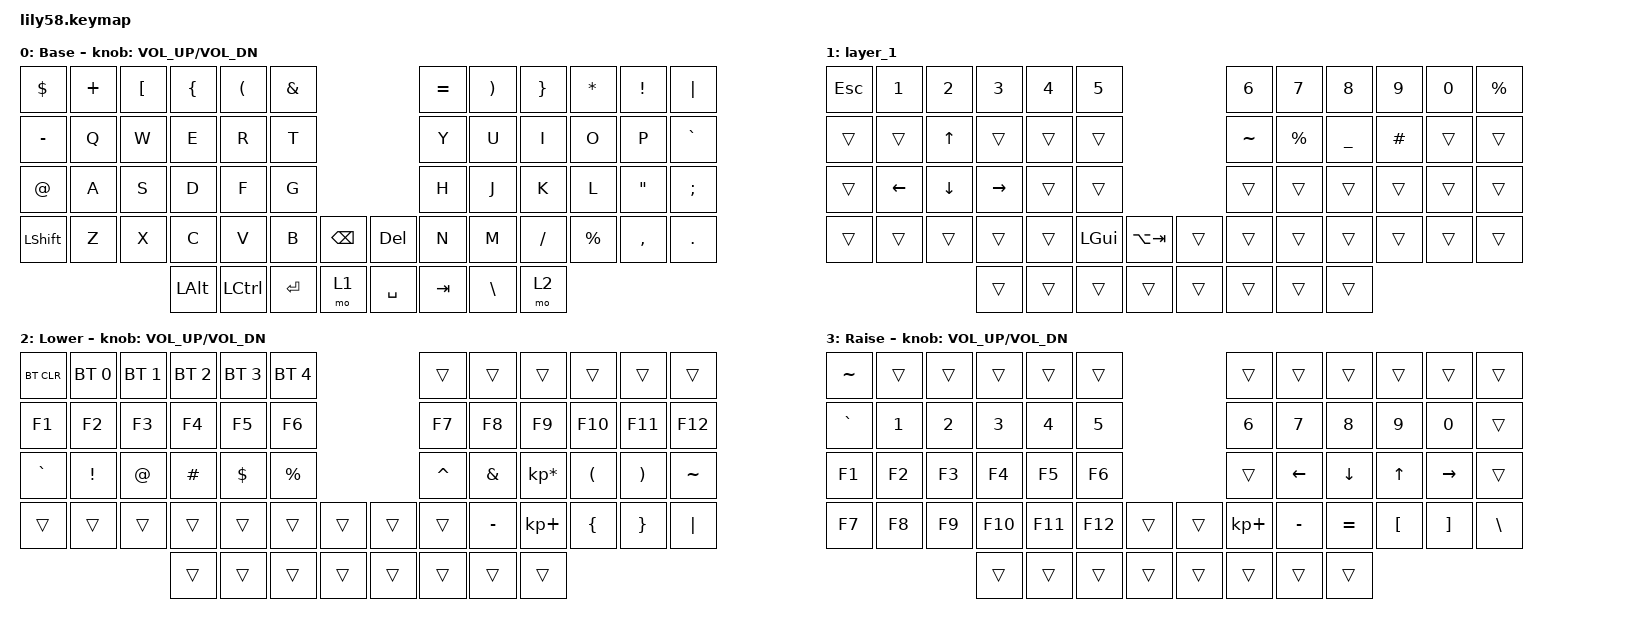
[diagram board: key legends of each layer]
/*
 * Copyright (c) 2020 The ZMK Contributors
 *
 * SPDX-License-Identifier: MIT
 */

#include <behaviors.dtsi>
#include <dt-bindings/zmk/bt.h>
#include <dt-bindings/zmk/keys.h>

/ {
    keymap {
        compatible = "zmk,keymap";

        default_layer {
            // ------------------------------------------------------------------------------------------------------------
            // |  ESC  |  1  |  2  |  3   |  4   |  5   |                   |  6   |  7    |  8    |  9   |   0   |   `   |
            // |  TAB  |  Q  |  W  |  E   |  R   |  T   |                   |  Y   |  U    |  I    |  O   |   P   |   -   |
            // |  CTRL |  A  |  S  |  D   |  F   |  G   |                   |  H   |  J    |  K    |  L   |   ;   |   '   |
            // | SHIFT |  Z  |  X  |  C   |  V   |  B   |   "["  |  |  "]"  |  N   |  M    |  ,    |  .   |   /   | SHIFT |
            //                     | ALT  | GUI  | LOWER|  SPACE |  | ENTER | RAISE| BSPC  | GUI   |

            display-name = "Base";
            bindings = <
&kp DOLLAR      &kp PLUS  &kp LEFT_BRACKET  &kp LEFT_BRACE  &kp LEFT_PARENTHESIS  &kp AMPERSAND                              &kp EQUAL  &kp RIGHT_PARENTHESIS  &kp RIGHT_BRACE  &kp ASTERISK  &kp EXCLAMATION    &kp PIPE
&kp MINUS       &kp Q     &kp W             &kp E           &kp R                 &kp T                                      &kp Y      &kp U                  &kp I            &kp O         &kp P              &kp GRAVE
&kp AT_SIGN     &kp A     &kp S             &kp D           &kp F                 &kp G                                      &kp H      &kp J                  &kp K            &kp L         &kp DOUBLE_QUOTES  &kp SEMICOLON
&kp LEFT_SHIFT  &kp Z     &kp X             &kp C           &kp V                 &kp B          &kp BACKSPACE    &kp DEL    &kp N      &kp M                  &kp SLASH        &kp PERCENT   &kp COMMA          &kp PERIOD
                                            &kp LALT        &kp LEFT_CONTROL      &kp ENTER      &mo 1            &kp SPACE  &kp TAB    &kp BACKSLASH          &mo 2
            >;

            sensor-bindings = <&inc_dec_kp C_VOL_UP C_VOL_DN>;
        };

        layer_1 {
            bindings = <
&kp ESCAPE  &kp NUMBER_1    &kp NUMBER_2    &kp NUMBER_3     &kp NUMBER_4  &kp N5                               &kp NUMBER_6  &kp N7       &kp N8          &kp N9    &kp N0  &kp PERCENT
&trans      &trans          &kp UP_ARROW    &trans           &trans        &trans                               &kp TILDE     &kp PERCENT  &kp UNDERSCORE  &kp HASH  &trans  &trans
&trans      &kp LEFT_ARROW  &kp DOWN_ARROW  &kp RIGHT_ARROW  &trans        &trans                               &trans        &trans       &trans          &trans    &trans  &trans
&trans      &trans          &trans          &trans           &trans        &kp LEFT_GUI  &kp LA(TAB)    &trans  &trans        &trans       &trans          &trans    &trans  &trans
                                            &trans           &trans        &trans        &trans         &trans  &trans        &trans       &trans
            >;
        };

        lower_layer {
            // ------------------------------------------------------------------------------------------------------------
            // | BTCLR | BT1 | BT2 |  BT3 |  BT4 |  BT5 |                   |      |       |       |      |       |       |
            // |  F1   |  F2 |  F3 |  F4  |  F5  |  F6  |                   |  F7  |  F8   |  F9   |  F10 |  F11  |  F12  |
            // |   `   |  !  |  @  |  #   |  $   |  %   |                   |  ^   |  &    |  *    |  (   |   )   |   ~   |
            // |       |     |     |      |      |      |        |  |       |      |  _    |  +    |  {   |   }   |  "|"  |
            //                     |      |      |      |        |  |       |      |       |       |

            display-name = "Lower";
            bindings = <
&bt BT_CLR  &bt BT_SEL 0  &bt BT_SEL 1  &bt BT_SEL 2  &bt BT_SEL 3  &bt BT_SEL 4                    &trans     &trans     &trans           &trans    &trans    &trans
&kp F1      &kp F2        &kp F3        &kp F4        &kp F5        &kp F6                          &kp F7     &kp F8     &kp F9           &kp F10   &kp F11   &kp F12
&kp GRAVE   &kp EXCL      &kp AT        &kp HASH      &kp DOLLAR    &kp PRCNT                       &kp CARET  &kp AMPS   &kp KP_MULTIPLY  &kp LPAR  &kp RPAR  &kp TILDE
&trans      &trans        &trans        &trans        &trans        &trans        &trans    &trans  &trans     &kp MINUS  &kp KP_PLUS      &kp LBRC  &kp RBRC  &kp PIPE
                                        &trans        &trans        &trans        &trans    &trans  &trans     &trans     &trans
            >;

            sensor-bindings = <&inc_dec_kp C_VOL_UP C_VOL_DN>;
        };

        raise_layer {
            // ------------------------------------------------------------------------------------------------------------
            // |       |     |     |      |      |      |                   |      |       |       |      |       |       |
            // |   `   |  1  |  2  |  3   |  4   |  5   |                   |  6   |   7   |   8   |  9   |   0   |       |
            // |   F1  |  F2 |  F3 |  F4  |  F5  |  F6  |                   |      |   <-  |   v   |  ^   |  ->   |       |
            // |   F7  |  F8 |  F9 |  F10 |  F11 |  F12 |        |  |       |  +   |   -   |   =   |  [   |   ]   |   \   |
            //                     |      |      |      |        |  |       |      |       |       |

            display-name = "Raise";
            bindings = <
&kp TILDE  &trans  &trans  &trans   &trans   &trans                     &trans       &trans     &trans     &trans    &trans     &trans
&kp GRAVE  &kp N1  &kp N2  &kp N3   &kp N4   &kp N5                     &kp N6       &kp N7     &kp N8     &kp N9    &kp N0     &trans
&kp F1     &kp F2  &kp F3  &kp F4   &kp F5   &kp F6                     &trans       &kp LEFT   &kp DOWN   &kp UP    &kp RIGHT  &trans
&kp F7     &kp F8  &kp F9  &kp F10  &kp F11  &kp F12  &trans    &trans  &kp KP_PLUS  &kp MINUS  &kp EQUAL  &kp LBKT  &kp RBKT   &kp BSLH
                           &trans   &trans   &trans   &trans    &trans  &trans       &trans     &trans
            >;

            sensor-bindings = <&inc_dec_kp C_VOL_UP C_VOL_DN>;
        };
    };
};
